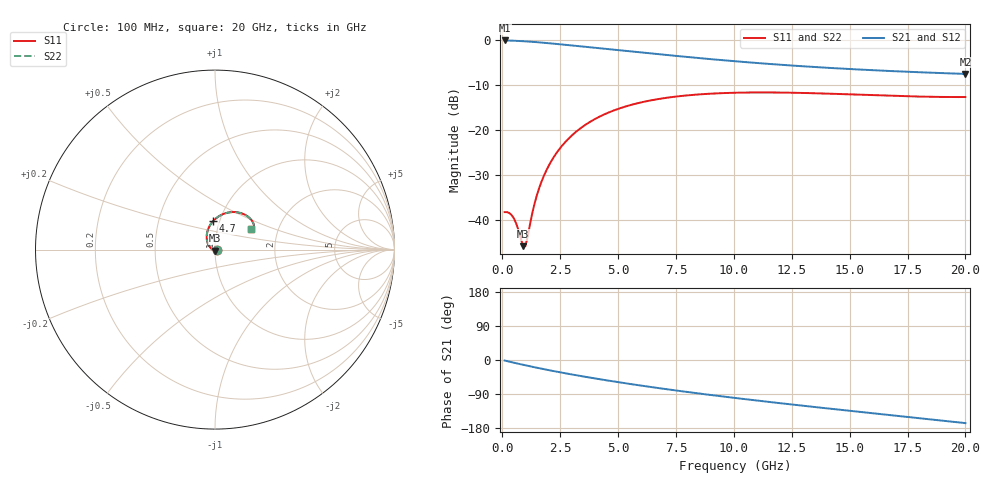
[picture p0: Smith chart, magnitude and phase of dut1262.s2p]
! Touchstone file exported from HFSS 2024.1.0
!  File:  C:/UserFiles/LocalFiles/RDL_TSV_Batchsim/temp_RDL_TSV_1262_1780272503.aedt
!  Generated:  08:24:32 AM Jun  1, 2026
!  Design:  RDL_TSV
!  Project:  temp_RDL_TSV_1262_1780272503
!  Setup:  Setup1
!  Solution:  Sweep
! Variables:
!  dtsv = 7.57um
!  hbump = 3um
!  htsv = 83.92um
!  ldown = 515.04um
!  lrdl = 172.08um
!  p = 40
!  p1 = 46.42um
!  rhole = 10um
!  subl = 2233.44um
!  t = 450um
!  tdown = 2.39um
!  trdl = 4.53um
!  viad = 10um
!  wdown = 26.93um
!  wrdl = 21.73um
!  xbump = 18um
# GHz S MA R 50.000000
! Terminal data exported
! Port[1] = TM1_1_T1
! Port[2] = TM1_4_T1
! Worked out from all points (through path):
!   200 points, 100 MHz to 20 GHz, reference 50 ohm
!   highest |S21| = -0.11 dB at 100 MHz (marker M1); lowest = -7.5 dB at 20 GHz (marker M2)
!   group delay of S21, straight-line fit = 21.9 ps
!   lowest |S11| = -45.8 dB at 900 MHz (marker M3), VSWR 1.01, Z = 50.1 - j0.511 ohm
!   |S11| at or under -10 dB: start of sweep to end of sweep
!   |S22| runs from -45.8 to -11.7 dB; largest |S21 - S12| = 9.4e-15
!   S11 on the Smith chart (normalised r, x): 100 MHz: 1.02, -0.00; 4.7 GHz: 0.93, +0.31; 20 GHz: 1.45, +0.35
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0.1  0.01229 -1.9  0.9873 -1.5  0.9873 -1.5  0.01229 -1.9
! Gamma 0 0 0 0
! Port Impedance 50 0 50 0
0.3  0.01203 -9.2  0.9845 -4.4  0.9845 -4.4  0.01203 -9.2
0.5  0.01047 -21.5  0.9804 -7.2  0.9804 -7.2  0.01047 -21.5
0.7  0.00773 -41.0  0.9752 -9.9  0.9752 -9.9  0.007733 -41.0
0.9  0.005144 -83.3  0.9689 -12.7  0.9689 -12.7  0.005146 -83.3
1  0.005169 -117.3  0.9655 -14.0  0.9655 -14.0  0.005168 -117.3
1.3  0.01211 -176.6  0.9536 -18.0  0.9536 -18.0  0.0121 -176.6
1.4  0.01549 175.0  0.9493 -19.2  0.9493 -19.2  0.01548 175.0
1.6  0.023 163.2  0.9402 -21.8  0.9402 -21.8  0.02299 163.2
1.9  0.03553 151.0  0.9258 -25.5  0.9258 -25.5  0.03551 151.0
2.2  0.04904 141.6  0.9106 -29.1  0.9106 -29.1  0.04902 141.6
2.6  0.06788 131.2  0.89 -33.7  0.89 -33.7  0.06785 131.2
3  0.08696 122.2  0.8693 -38.1  0.8693 -38.1  0.08693 122.2
3.5  0.1103 112.4  0.8437 -43.5  0.8437 -43.5  0.1103 112.4
4.7  0.1607 93.2  0.785 -55.5  0.785 -55.5  0.1607 93.3
5.7  0.1944 80.5  0.7393 -64.9  0.7393 -64.9  0.1943 80.5
6.8  0.2222 69.0  0.6927 -74.6  0.6927 -74.6  0.2221 69.0
8.4  0.2477 55.7  0.6326 -87.7  0.6326 -87.7  0.2476 55.7
10.1  0.2598 45.1  0.5791 -100.5  0.5791 -100.5  0.2596 45.1
13.4  0.2566 32.3  0.5024 -123.5  0.5024 -123.5  0.2563 32.4
16.7  0.2405 27.8  0.4528 -145.1  0.4528 -145.1  0.2401 27.9
20  0.2325 29.8  0.4197 -166.5  0.4197 -166.5  0.2321 29.9
